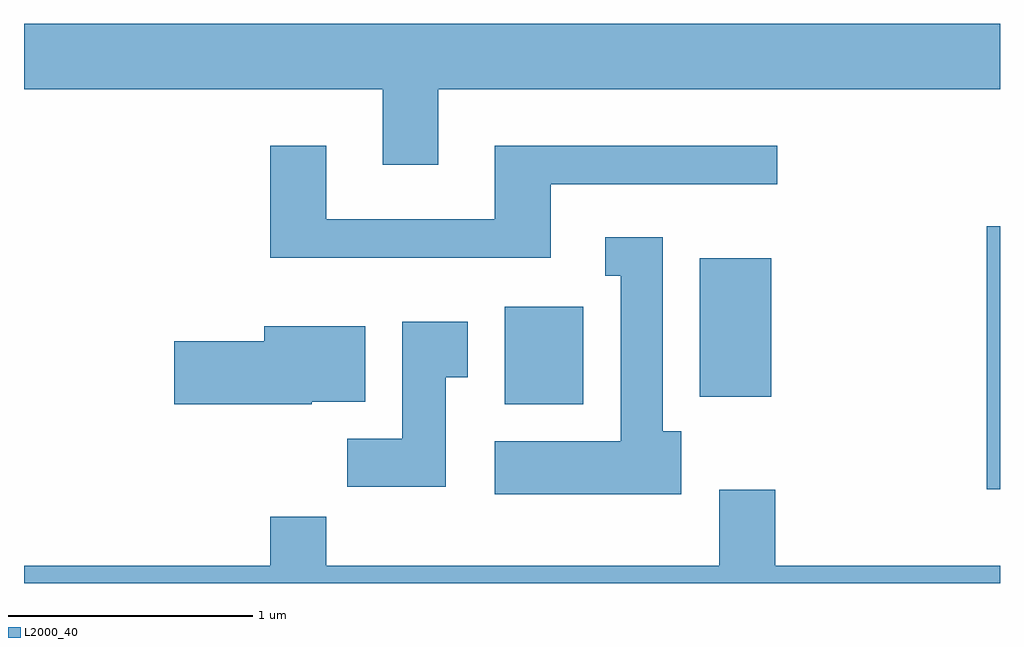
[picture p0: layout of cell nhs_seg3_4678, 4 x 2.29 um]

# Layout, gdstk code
import gdstk
lib = gdstk.Library(unit=1e-6, precision=1e-09)
def R(c, l, rs):  # rectangles x0, y0, x1, y1
    for r in rs: c.add(gdstk.rectangle(r[:2], r[2:], *l))
def P(c, l, *ps):  # polygons
    for p in ps: c.add(gdstk.Polygon(p, *l))
L2000_40 = (2000, 40)

nhs_seg3_4678 = lib.new_cell('nhs_seg3_4678')
R(nhs_seg3_4678, L2000_40, [(325.556,1224.276,325.611,1225.354), (323.581,1224.626,323.904,1225.024), (324.381,1224.656,324.674,1225.224)])
P(nhs_seg3_4678, L2000_40, [(321.611,1225.916),(323.081,1225.916),(323.081,1225.606),(323.309,1225.606),(323.309,1225.916),(325.611,1225.916),(325.611,1226.184),(321.611,1226.184)],
  [(323.769,1225.526),(324.698,1225.526),(324.698,1225.684),(323.541,1225.684),(323.541,1225.384),(322.849,1225.384),(322.849,1225.684),(322.621,1225.684),(322.621,1225.226),(323.769,1225.226)],
  [(324.304,1224.514),(324.229,1224.514),(324.229,1225.309),(323.993,1225.309),(323.993,1225.151),(324.056,1225.151),(324.056,1224.474),(323.541,1224.474),(323.541,1224.256),(324.304,1224.256)],
  [(323.339,1224.736),(323.429,1224.736),(323.429,1224.964),(323.161,1224.964),(323.161,1224.484),(322.936,1224.484),(322.936,1224.286),(323.339,1224.286)],
  [(322.79,1224.636),(323.009,1224.636),(323.009,1224.944),(322.596,1224.944),(322.596,1224.884),(322.226,1224.884),(322.226,1224.626),(322.79,1224.626)],
  [(325.611,1223.964),(324.689,1223.964),(324.689,1224.274),(324.461,1224.274),(324.461,1223.964),(322.849,1223.964),(322.849,1224.164),(322.621,1224.164),(322.621,1223.964),(321.611,1223.964),(321.611,1223.892),(325.611,1223.892)])

lib.write_gds('nhs_seg3_4678.gds')
